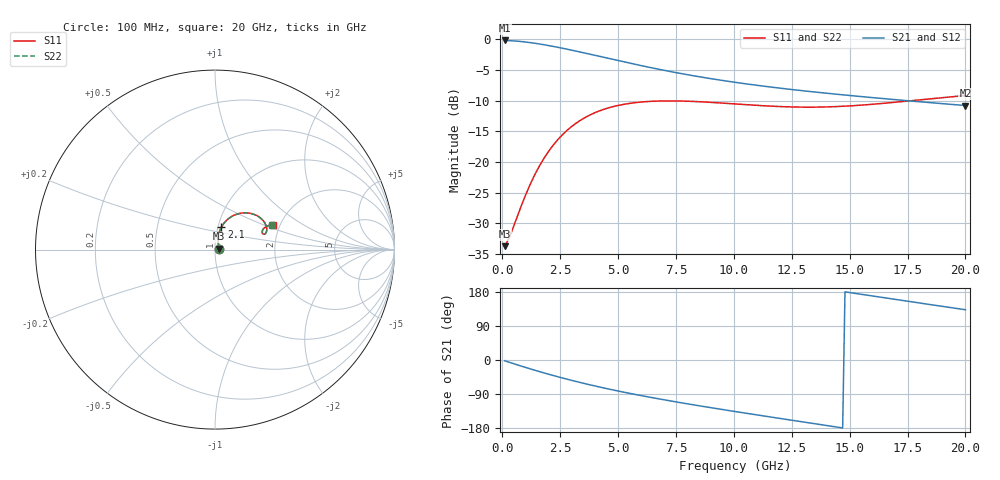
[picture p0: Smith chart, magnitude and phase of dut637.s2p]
! Touchstone file exported from HFSS 2024.1.0
!  File:  C:/UserFiles/LocalFiles/RDL_TSV_Batchsim/temp_RDL_TSV_637_1779805561.aedt
!  Generated:  10:42:50 PM May 26, 2026
!  Design:  RDL_TSV
!  Project:  temp_RDL_TSV_637_1779805561
!  Setup:  Setup1
!  Solution:  Sweep
! Variables:
!  dtsv = 8.87um
!  hbump = 3um
!  htsv = 77.69um
!  ldown = 457.9um
!  lrdl = 474.38um
!  p = 40
!  p1 = 57.11um
!  rhole = 10um
!  subl = 3271.22um
!  t = 450um
!  tdown = 2.96um
!  trdl = 4.66um
!  viad = 10um
!  wdown = 11.81um
!  wrdl = 26.43um
!  xbump = 18um
# GHz S MA R 50.000000
! Terminal data exported
! Port[1] = TM1_1_T1
! Port[2] = TM1_4_T1
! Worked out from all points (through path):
!   200 points, 100 MHz to 20 GHz, reference 50 ohm
!   highest |S21| = -0.18 dB at 100 MHz (marker M1); lowest = -10.8 dB at 20 GHz (marker M2)
!   group delay of S21, straight-line fit = 29.5 ps
!   lowest |S11| = -33.7 dB at 100 MHz (marker M3), VSWR 1.04, Z = 52 + j0.534 ohm
!   |S11| at or under -10 dB: start of sweep to 17.66 GHz
!   |S22| runs from -33.7 to -9.2 dB; largest |S21 - S12| = 2.9e-14
!   S11 on the Smith chart (normalised r, x): 100 MHz: 1.04, +0.01; 2.1 GHz: 1.04, +0.26; 20 GHz: 1.83, +0.56
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0.1  0.0206 14.4  0.9797 -2.0  0.9797 -2.0  0.0206 14.4
! Gamma 0 0 0 0
! Port Impedance 50 0 50 0
0.3  0.02424 34.8  0.9764 -6.0  0.9764 -6.0  0.02425 34.8
0.7  0.03823 61.2  0.9647 -13.8  0.9647 -13.8  0.03824 61.1
1  0.0535 70.6  0.9519 -19.6  0.9519 -19.6  0.0535 70.6
1.3  0.07189 75.0  0.9359 -25.1  0.9359 -25.1  0.07186 74.9
1.7  0.09982 76.1  0.9111 -32.3  0.9111 -32.3  0.09976 76.0
2.1  0.1298 74.2  0.8834 -39.3  0.8834 -39.3  0.1296 74.1
2.4  0.1524 71.7  0.8616 -44.3  0.8616 -44.3  0.1522 71.6
2.8  0.1814 67.5  0.8315 -50.7  0.8315 -50.7  0.1812 67.5
3.5  0.2263 59.5  0.7784 -61.4  0.7784 -61.4  0.226 59.4
4.2  0.2613 51.6  0.7268 -71.3  0.7268 -71.3  0.2609 51.6
5.1  0.2918 42.6  0.6653 -83.1  0.6653 -83.1  0.2912 42.5
5.9  0.3071 35.8  0.6164 -92.8  0.6164 -92.8  0.3065 35.7
6.8  0.3144 29.5  0.5683 -103.0  0.5683 -103.0  0.3138 29.5
8.3  0.3116 22.2  0.5033 -118.8  0.5033 -118.8  0.3108 22.1
10.1  0.297 17.9  0.4451 -136.4  0.4451 -136.4  0.2962 17.8
11.7  0.2848 17.5  0.4062 -151.5  0.4062 -151.5  0.2839 17.5
13.4  0.2801 19.5  0.3737 -167.3  0.3737 -167.3  0.2792 19.5
15  0.2867 22.1  0.3486 178.0  0.3486 178.0  0.2857 22.1
16.7  0.3037 24.0  0.3257 162.4  0.3257 162.4  0.3028 24.0
18.4  0.3264 24.2  0.3057 147.0  0.3057 147.0  0.3256 24.2
20  0.348 22.9  0.2889 132.6  0.2889 132.6  0.3471 23.0
